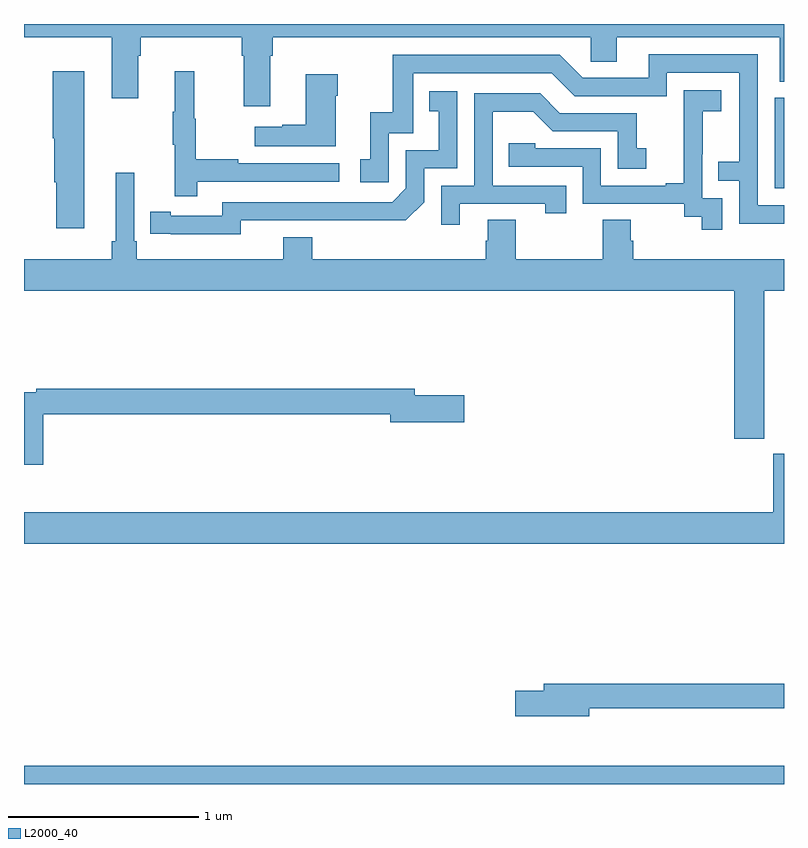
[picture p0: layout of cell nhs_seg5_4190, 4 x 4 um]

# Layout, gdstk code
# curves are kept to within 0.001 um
import gdstk
lib = gdstk.Library(unit=1e-6, precision=1e-09)
def R(c, l, rs):  # rectangles x0, y0, x1, y1
    for r in rs: c.add(gdstk.rectangle(r[:2], r[2:], *l))
def P(c, l, *ps):  # polygons
    for p in ps: c.add(gdstk.Polygon(p, *l))
L2000_40 = (2000, 40)

nhs_seg5_4190 = lib.new_cell('nhs_seg5_4190')
R(nhs_seg5_4190, L2000_40, [(357,884.799,361,884.896), (360.951,887.934,361,888.411)])
P(nhs_seg5_4190, L2000_40, [(358.297,888.632),(358.31,888.632),(358.31,888.728),(359.982,888.728),(359.982,888.601),(360.121,888.601),(360.121,888.728),(360.977,888.728),(360.977,888.496),(361,888.496),(361,888.799),(357,888.799),(357,888.728),(357.461,888.728),(357.461,888.408),(357.601,888.408),(357.601,888.632),(357.614,888.632),(357.614,888.728),(358.145,888.728),(358.145,888.632),(358.157,888.632),(358.157,888.366),(358.297,888.366)],
  [(361,887.844),(360.861,887.844),(360.861,888.639),(360.287,888.639),(360.287,888.516),(359.94,888.516),(359.82,888.636),(358.941,888.636),(358.941,888.334),(358.823,888.334),(358.823,888.087),(358.77,888.087),(358.77,887.967),(358.92,887.967),(358.92,888.225),(359.049,888.225),(359.049,888.54),(359.778,888.54),(359.898,888.42),(360.384,888.42),(360.384,888.543),(360.765,888.543),(360.765,888.074),(360.655,888.074),(360.655,887.973),(360.765,887.973),(360.765,887.748),(361,887.748)],
  [(357.316,888.55),(357.152,888.55),(357.152,888.198),(357.158,888.198),(357.158,887.967),(357.17,887.967),(357.17,887.724),(357.316,887.724)],
  [(357.911,887.97),(358.66,887.97),(358.66,888.066),(358.127,888.066),(358.127,888.086),(357.904,888.086),(357.904,888.3),(357.896,888.3),(357.896,888.55),(357.794,888.55),(357.794,888.337),(357.783,888.337),(357.783,888.163),(357.794,888.163),(357.794,887.892),(357.911,887.892)],
  [(358.642,888.422),(358.65,888.422),(358.65,888.535),(358.484,888.535),(358.484,888.269),(358.358,888.269),(358.358,888.259),(358.215,888.259),(358.215,888.155),(358.642,888.155)],
  [(360.675,887.883),(360.57,887.883),(360.57,888.113),(360.572,888.113),(360.572,888.341),(360.67,888.341),(360.67,888.451),(360.472,888.451),(360.472,888.245),(360.473,888.245),(360.473,887.962),(360.377,887.962),(360.377,887.949),(360.036,887.949),(360.036,888.144),(359.691,888.144),(359.691,888.171),(359.551,888.171),(359.551,888.048),(359.94,888.048),(359.94,887.853),(360.474,887.853),(360.474,887.785),(360.567,887.785),(360.567,887.715),(360.675,887.715)],
  [(358.14,887.766),(359.008,887.765),(359.106,887.862),(359.106,888.039),(359.28,888.039),(359.28,888.445),(359.134,888.445),(359.134,888.339),(359.183,888.339),(359.183,888.135),(359.01,888.135),(359.01,887.934),(358.938,887.862),(358.044,887.862),(358.044,887.79),(357.772,887.79),(357.772,887.81),(357.664,887.81),(357.664,887.694),(358.14,887.693)],
  [(359.293,887.853),(359.744,887.853),(359.744,887.802),(359.855,887.802),(359.855,887.949),(359.466,887.949),(359.466,888.338),(359.68,888.338),(359.784,888.234),(360.126,888.234),(360.126,888.036),(360.274,888.036),(360.274,888.145),(360.225,888.145),(360.225,888.33),(359.821,888.33),(359.716,888.435),(359.37,888.435),(359.37,887.949),(359.196,887.949),(359.196,887.742),(359.293,887.742)],
  [(360.897,887.396),(361,887.396),(361,887.56),(360.206,887.56),(360.206,887.658),(360.193,887.658),(360.193,887.768),(360.046,887.768),(360.046,887.56),(359.589,887.56),(359.589,887.768),(359.441,887.768),(359.441,887.658),(359.429,887.658),(359.429,887.56),(358.517,887.56),(358.517,887.677),(358.364,887.677),(358.364,887.56),(357.593,887.56),(357.593,887.656),(357.579,887.656),(357.579,888.016),(357.482,888.016),(357.482,887.656),(357.463,887.656),(357.463,887.56),(357,887.56),(357,887.396),(360.737,887.396),(360.737,886.617),(360.897,886.617)],
  [(357.101,886.744),(358.928,886.744),(358.928,886.702),(359.317,886.702),(359.317,886.844),(359.056,886.844),(359.056,886.88),(357.064,886.88),(357.064,886.86),(357,886.86),(357,886.479),(357.101,886.479)],
  [(361,886.537),(360.944,886.537),(360.944,886.228),(357,886.228),(357,886.064),(361,886.064)],
  [(359.974,885.198),(361,885.198),(361,885.326),(359.735,885.326),(359.735,885.29),(359.586,885.29),(359.586,885.155),(359.974,885.155)])

lib.write_gds('nhs_seg5_4190.gds')
